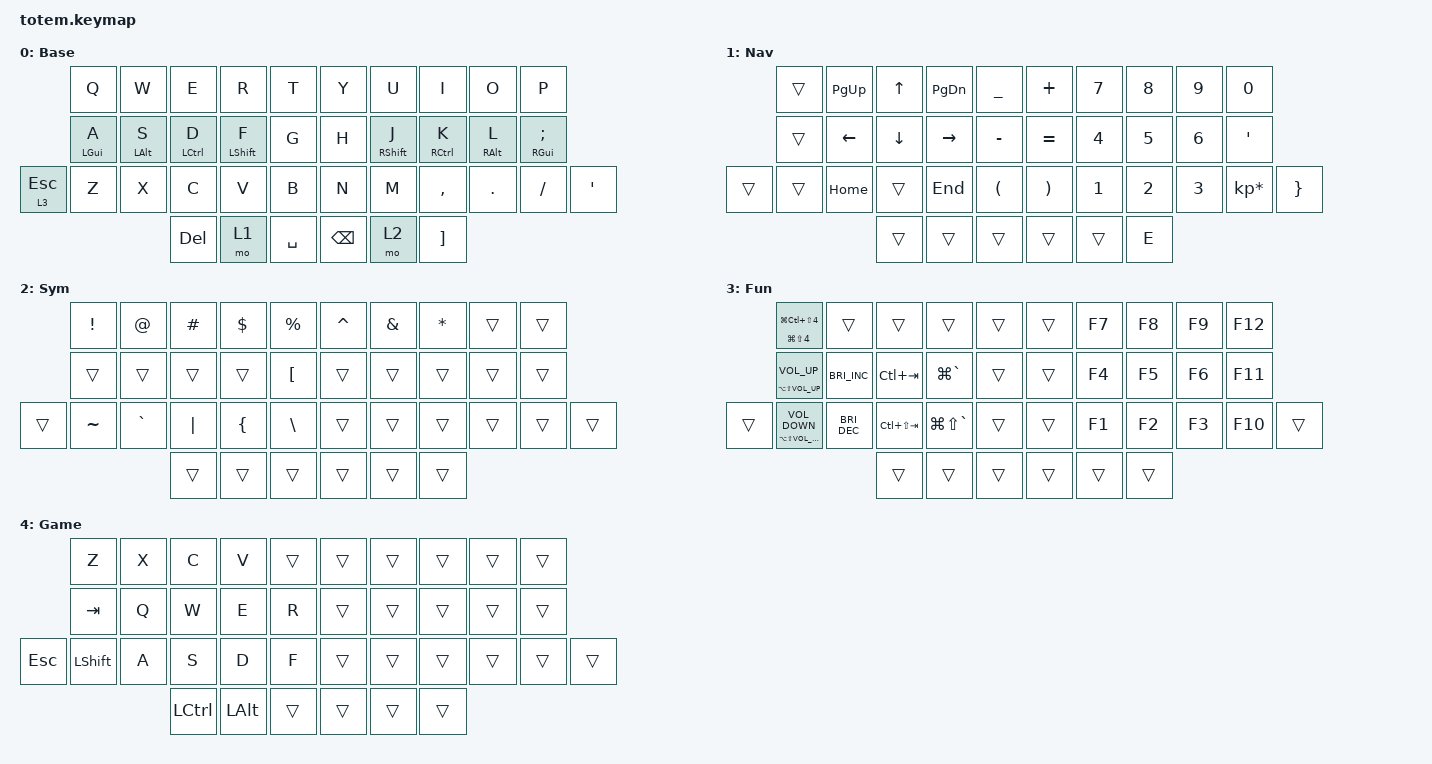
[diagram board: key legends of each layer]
//
//                                                        ▀▀▀▀▀     ▀▀▀▀▀          ▀▀█▀▀
//                                                        ▄▀▀▀▄  ▄  ▄▀▀▀▄  ▄  ▄▀▀▀▄  █  ▄▀▀▀▄
//                                                        █   █  █  █   █  █  █   █  █  █   █
//                                                         ▀▀▀   █   ▀▀▀   █   ▀▀▀   ▀   ▀▀▀
//                                                               █      ▄▄▄█▄▄▄    █   █  
//                                                               ▀      █  █  █     █▄█
//                                                             ▀▀▀▀▀    █  █  █      ▀
//                                                                      ▀  ▀  ▀
//
// ▄▄▄▄▄▄▄▄▄▄▄▄▄▄▄▄▄▄▄▄▄▄▄▄▄▄▄▄▄▄▄▄▄▄▄▄▄▄▄▄▄▄▄▄▄▄▄▄▄▄▄▄▄▄▄▄▄▄▄▄▄▄▄▄▄▄▄▄▄▄▄▄▄▄▄▄▄▄▄▄▄▄▄▄▄▄▄▄▄▄▄▄▄▄▄▄▄▄▄▄▄▄▄▄▄▄▄▄▄▄▄▄▄▄▄▄▄▄▄▄▄▄▄▄▄▄▄▄▄▄▄▄▄▄▄▄▄▄▄▄▄▄▄▄▄▄▄▄▄

#include <behaviors.dtsi>
#include <dt-bindings/zmk/keys.h>

#define Base        0
#define Nav         1
#define Sym         2
#define Fun         3
#define Game        4
#define Gameplus    5

&mt {
    quick-tap-ms = <100>;
    global-quick-tap;
    tapping-term-ms = <190>;
    require-prior-idle-ms = <125>;
};

&lt {
    tapping-term-ms = <240>;
    flavor = "balanced";
    quick-tap-ms = <150>;
    require-prior-idle-ms = <125>;
};

/ {
    behaviors {
        hm_l: hm_l {
            compatible = "zmk,behavior-hold-tap";
            label = "HM_L";
            bindings = <&kp>, <&kp>;

            #binding-cells = <2>;
            tapping-term-ms = <190>;
            quick-tap-ms = <125>;
            flavor = "tap-preferred";
            hold-trigger-key-positions = <5 15 26 35 36 6 7 8 9 16 17 18 19 27 28 29 30 31 37>;
            require-prior-idle-ms = <100>;
        };

        hm_r: hm_r {
            compatible = "zmk,behavior-hold-tap";
            label = "HM_R";
            bindings = <&kp>, <&kp>;

            #binding-cells = <2>;
            tapping-term-ms = <190>;
            quick-tap-ms = <125>;
            flavor = "tap-preferred";
            hold-trigger-key-positions = <0 1 2 3 4 10 11 12 13 14 20 21 22 23 24 25 32 33 34>;
            require-prior-idle-ms = <100>;
        };
    };

    combos {
        compatible = "zmk,combos";

        enter {
            bindings = <&kp ENTER>;
            key-positions = <16 17 18>;
        };

        tab {
            bindings = <&kp TAB>;
            key-positions = <11 12 13>;
        };

        shift_tab {
            bindings = <&kp LS(TAB)>;
            key-positions = <11 12 14>;
        };
    };

    macros {
        pipe: pipe {
            compatible = "zmk,behavior-macro";
            #binding-cells = <0>;
            bindings = <&none>;
            label = "PIPE";
        };
    };

    keymap {
        compatible = "zmk,keymap";

        Base {
            display-name = "Base";
            bindings = <
              &kp Q         &kp W         &kp E          &kp R           &kp T        &kp Y          &kp U          &kp I              &kp O         &kp P
              &hm_l LGUI A  &hm_l LALT S  &hm_l LCTRL D  &hm_l LSHIFT F  &kp G        &kp H          &hm_r RSHFT J  &hm_r RCTRL K      &hm_r RALT L  &hm_r RGUI SEMI
&lt 3 ESCAPE  &kp Z         &kp X         &kp C          &kp V           &kp B        &kp N          &kp M          &kp COMMA          &kp PERIOD    &kp SLASH        &kp SINGLE_QUOTE
                                          &kp DELETE     &mo 1           &kp SPACE    &kp BACKSPACE  &mo 2          &kp RIGHT_BRACKET
            >;
        };

        Nav {
            display-name = "Nav";
            bindings = <
        &trans  &kp PG_UP  &kp UP_ARROW  &kp PAGE_DOWN  &kp UNDER    &kp PLUS   &kp NUMBER_7  &kp NUMBER_8  &kp NUMBER_9  &kp NUMBER_0
        &trans  &kp LEFT   &kp DOWN      &kp RIGHT      &kp MINUS    &kp EQUAL  &kp NUMBER_4  &kp NUMBER_5  &kp NUMBER_6  &kp APOS
&trans  &trans  &kp HOME   &trans        &kp END        &kp LPAR     &kp RPAR   &kp NUMBER_1  &kp NUMBER_2  &kp NUMBER_3  &kp KP_MULTIPLY  &kp RIGHT_BRACE
                           &trans        &trans         &trans       &trans     &trans        &kp E
            >;
        };

        Sym {
            display-name = "Sym";
            bindings = <
        &kp EXCL   &kp AT     &kp HASH  &kp DLLR        &kp PRCNT           &kp CARET  &kp AMPS  &kp STAR  &trans  &trans
        &trans     &trans     &trans    &trans          &kp LEFT_BRACKET    &trans     &trans    &trans    &trans  &trans
&trans  &kp TILDE  &kp GRAVE  &kp PIPE  &kp LEFT_BRACE  &kp BACKSLASH       &trans     &trans    &trans    &trans  &trans  &trans
                              &trans    &trans          &trans              &trans     &trans    &trans
            >;
        };

        Fun {
            display-name = "Fun";
            bindings = <
        &mt LG(LS(NUMBER_4)) LG(LC(LS(NUMBER_4)))  &trans                &trans           &trans             &trans    &trans  &kp F7  &kp F8  &kp F9  &kp F12
        &mt LA(LS(C_VOLUME_UP)) C_VOLUME_UP        &kp C_BRIGHTNESS_INC  &kp LC(TAB)      &kp LG(GRAVE)      &trans    &trans  &kp F4  &kp F5  &kp F6  &kp F11
&trans  &mt LA(LS(C_VOLUME_DOWN)) C_VOLUME_DOWN    &kp C_BRIGHTNESS_DEC  &kp LC(LS(TAB))  &kp LG(LS(GRAVE))  &trans    &trans  &kp F1  &kp F2  &kp F3  &kp F10  &trans
                                                                         &trans           &trans             &trans    &trans  &trans  &trans
            >;
        };

        Gaming {
            display-name = "Game";
            bindings = <
            &kp Z           &kp X  &kp C      &kp V         &trans    &trans  &trans  &trans  &trans  &trans
            &kp TAB         &kp Q  &kp W      &kp E         &kp R     &trans  &trans  &trans  &trans  &trans
&kp ESCAPE  &kp LEFT_SHIFT  &kp A  &kp S      &kp D         &kp F     &trans  &trans  &trans  &trans  &trans  &trans
                                   &kp LCTRL  &kp LEFT_ALT  &trans    &trans  &trans  &trans
            >;
        };
    };
};
